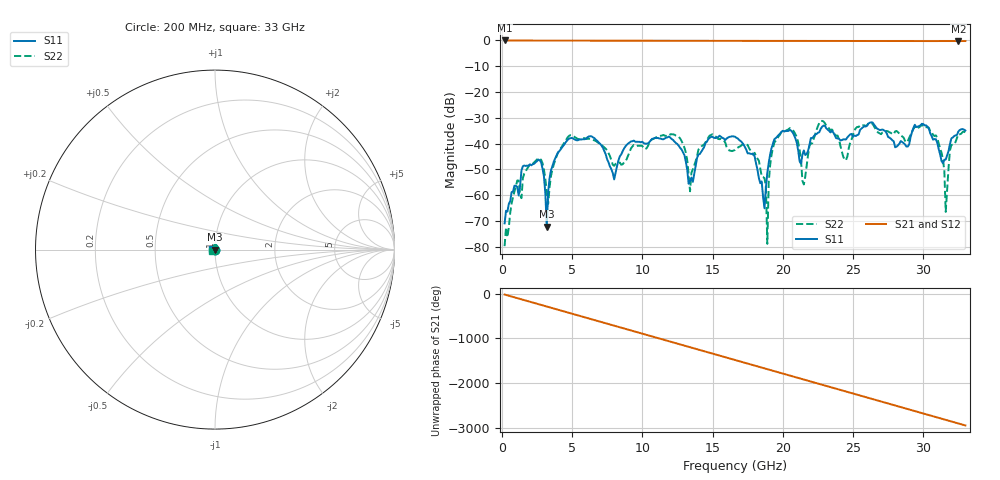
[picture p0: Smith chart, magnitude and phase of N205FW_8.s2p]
# GHZ S RI R 50
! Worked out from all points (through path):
!   329 points, 200 MHz to 33 GHz, reference 50 ohm
!   highest |S21| = -0.02 dB at 200 MHz (marker M1); lowest = -0.3 dB at 32.5 GHz (marker M2)
!   group delay of S21, straight-line fit = 248 ps
!   lowest |S11| = -72.2 dB at 3.2 GHz (marker M3), VSWR 1.00, Z = 50 - j0.0178 ohm
!   |S11| at or under -10 dB: start of sweep to end of sweep
!   |S22| runs from -79.8 to -31.2 dB; largest |S21 - S12| = 0.0022
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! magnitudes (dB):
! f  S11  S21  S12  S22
! 200 MHz  -70.9  0.0  0.0  -79.8
! 2.6 GHz  -46.2  -0.1  -0.1  -45.8
! 3.2 GHz  -72.2  -0.1  -0.1  -58.3
! 3.7 GHz  -47.0  -0.1  -0.1  -48.1
! 5.7 GHz  -38.4  -0.1  -0.1  -38.1
! 8 GHz  -53.9  -0.1  -0.1  -48.6
! 11.2 GHz  -38.0  -0.1  -0.1  -37.1
! 13.4 GHz  -54.6  -0.2  -0.2  -58.5
! 16.6 GHz  -37.3  -0.2  -0.2  -42.5
! 18.3 GHz  -53.4  -0.2  -0.2  -46.6
! 18.8 GHz  -56.9  -0.2  -0.2  -57.0
! 18.9 GHz  -51.4  -0.2  -0.2  -78.9
! 19 GHz  -47.4  -0.2  -0.2  -55.0
! 19.4 GHz  -38.3  -0.2  -0.2  -39.6
! 20.8 GHz  -36.7  -0.2  -0.2  -35.4
! 21.5 GHz  -42.6  -0.2  -0.2  -55.9
! 22.1 GHz  -37.8  -0.2  -0.2  -39.9
! 27.6 GHz  -37.7  -0.2  -0.2  -35.6
! 30.9 GHz  -38.3  -0.3  -0.3  -36.8
! 31.6 GHz  -46.2  -0.2  -0.2  -66.5
! 32.5 GHz  -35.3  -0.3  -0.3  -36.3
! 33 GHz  -34.9  -0.2  -0.2  -35.7
